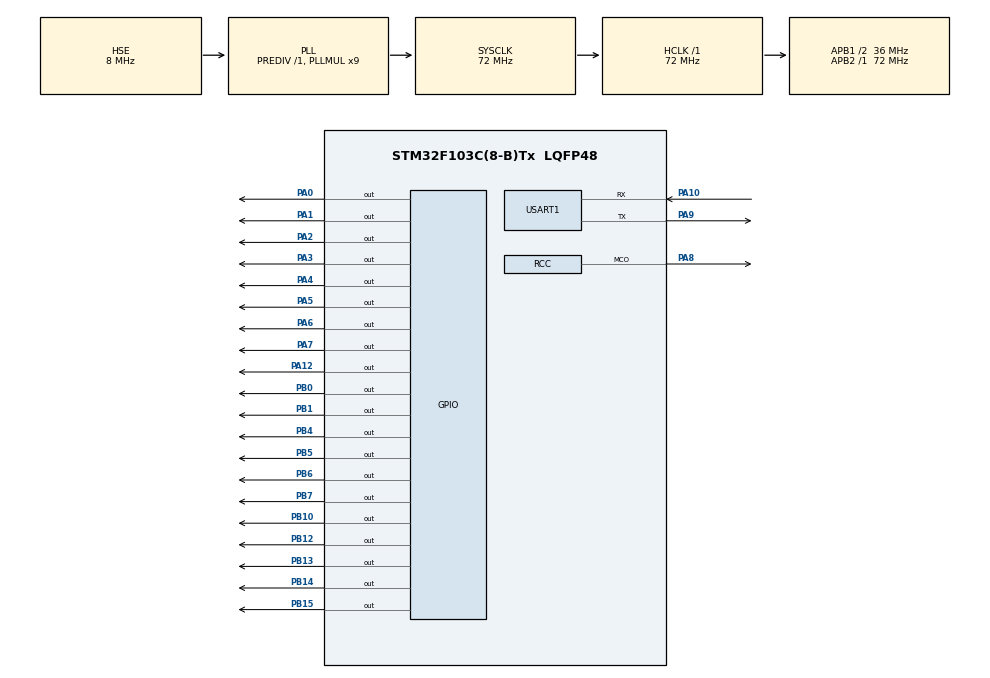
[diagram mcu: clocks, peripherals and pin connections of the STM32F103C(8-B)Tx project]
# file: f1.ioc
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Mcu.Family=STM32F1
Mcu.Name=STM32F103C(8-B)Tx
Mcu.Package=LQFP48
NVIC.PriorityGroup=NVIC_PRIORITYGROUP_4
NVIC.USART1_IRQn=true\:0\:0\:false\:false\:true\:true\:true\:true
PA0-WKUP.GPIO_Speed=GPIO_SPEED_FREQ_HIGH
PA0-WKUP.Signal=GPIO_Output
PA1.GPIO_Speed=GPIO_SPEED_FREQ_HIGH
PA1.Signal=GPIO_Output
PA10.Mode=Asynchronous
PA10.Signal=USART1_RX
PA12.GPIO_Speed=GPIO_SPEED_FREQ_HIGH
PA12.Signal=GPIO_Output
PA13.Mode=JTAG_4_pins
PA13.Signal=SYS_JTMS-SWDIO
PA14.Mode=JTAG_4_pins
PA14.Signal=SYS_JTCK-SWCLK
PA15.Mode=JTAG_4_pins
PA15.Signal=SYS_JTDI
PA2.GPIO_Speed=GPIO_SPEED_FREQ_HIGH
PA2.Signal=GPIO_Output
PA3.GPIO_Speed=GPIO_SPEED_FREQ_HIGH
PA3.Signal=GPIO_Output
PA4.GPIO_Speed=GPIO_SPEED_FREQ_HIGH
PA4.Signal=GPIO_Output
PA5.GPIO_Speed=GPIO_SPEED_FREQ_HIGH
PA5.Signal=GPIO_Output
PA6.GPIO_Speed=GPIO_SPEED_FREQ_HIGH
PA6.Signal=GPIO_Output
PA7.GPIO_Speed=GPIO_SPEED_FREQ_HIGH
PA7.Signal=GPIO_Output
PA8.Mode=Clock-out
PA8.Signal=RCC_MCO
PA9.Mode=Asynchronous
PA9.Signal=USART1_TX
PB0.GPIO_Speed=GPIO_SPEED_FREQ_HIGH
PB0.Signal=GPIO_Output
PB1.GPIO_Speed=GPIO_SPEED_FREQ_HIGH
PB1.Signal=GPIO_Output
PB10.GPIO_Speed=GPIO_SPEED_FREQ_HIGH
PB10.Signal=GPIO_Output
PB12.GPIO_Speed=GPIO_SPEED_FREQ_HIGH
PB12.Signal=GPIO_Output
PB13.GPIO_Speed=GPIO_SPEED_FREQ_HIGH
PB13.Signal=GPIO_Output
PB14.GPIO_Speed=GPIO_SPEED_FREQ_HIGH
PB14.Signal=GPIO_Output
PB15.GPIO_Speed=GPIO_SPEED_FREQ_HIGH
PB15.Signal=GPIO_Output
PB3.Mode=JTAG_4_pins
PB3.Signal=SYS_JTDO-TRACESWO
PB4.GPIO_Speed=GPIO_SPEED_FREQ_HIGH
PB4.Signal=GPIO_Output
PB5.GPIO_Speed=GPIO_SPEED_FREQ_HIGH
PB5.Signal=GPIO_Output
PB6.GPIO_Speed=GPIO_SPEED_FREQ_HIGH
PB6.Signal=GPIO_Output
PB7.GPIO_Speed=GPIO_SPEED_FREQ_HIGH
PB7.Signal=GPIO_Output
PC14-OSC32_IN.Mode=LSE-External-Oscillator
PC14-OSC32_IN.Signal=RCC_OSC32_IN
PC15-OSC32_OUT.Mode=LSE-External-Oscillator
PC15-OSC32_OUT.Signal=RCC_OSC32_OUT
PD0-OSC_IN.Mode=HSE-External-Oscillator
PD0-OSC_IN.Signal=RCC_OSC_IN
PD1-OSC_OUT.Mode=HSE-External-Oscillator
PD1-OSC_OUT.Signal=RCC_OSC_OUT
ProjectManager.HeapSize=0x200
ProjectManager.StackSize=0x400
ProjectManager.TargetToolchain=MDK-ARM V5.32
RCC.AHBFreq_Value=72000000
RCC.APB1CLKDivider=RCC_HCLK_DIV2
RCC.APB1Freq_Value=36000000
RCC.APB1TimFreq_Value=72000000
RCC.APB2Freq_Value=72000000
RCC.APB2TimFreq_Value=72000000
RCC.HCLKFreq_Value=72000000
RCC.PLLMUL=RCC_PLL_MUL9
RCC.PLLSourceVirtual=RCC_PLLSOURCE_HSE
RCC.RCC_MCOSource=RCC_MCO1SOURCE_PLLCLK
RCC.SYSCLKFreq_VALUE=72000000
RCC.SYSCLKSource=RCC_SYSCLKSOURCE_PLLCLK
RCC.USBFreq_Value=72000000
USART1.VirtualMode=VM_ASYNC
board=custom

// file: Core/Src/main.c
/* USER CODE BEGIN Header */
/**
  ******************************************************************************
  * @file           : main.c
  * @brief          : Main program body
  ******************************************************************************
  * @attention
  *
  * Copyright (c) 2023 STMicroelectronics.
  * All rights reserved.
  *
  * This software is licensed under terms that can be found in the LICENSE file
  * in the root directory of this software component.
  * If no LICENSE file comes with this software, it is provided AS-IS.
  *
  ******************************************************************************
  */
/* USER CODE END Header */
#include "main.h"
#include "usart.h"
#include "gpio.h"

/* USER CODE BEGIN Includes */
//#include "delay.h"
#include "myusart1.h"
#include "delay.h"
#include "AD9834.h"
#include "AD9959.H"
#include "ad9910.h"
#include "USART_Control.h"
/* USER CODE END Includes */

void SystemClock_Config(void);

int main(void)
{

  /* MCU Configuration--------------------------------------------------------*/

  /* Reset of all peripherals, Initializes the Flash interface and the Systick. */
  HAL_Init();

  /* Configure the system clock */
  SystemClock_Config();

  /* Initialize all configured peripherals */
  MX_GPIO_Init();
  MX_USART1_UART_Init();
  /* USER CODE BEGIN 2 */
  MyUSART1_Init(&huart1);
  delay_init(170);

  AD9834_Init();
  AD9834_Select_Wave(Sine_Wave);
  AD9834_Set_Freq(FREQ_0,100000);

  Init_AD9959();
  AD9959_SetFrequency4Channel(35000000,35000000,2000000,2000000);
  AD9959_SetPhase4Channel(0,0,0,0);
  AD9959_SetAmp4Channel(1023,1023,1023,1023);

  Init_ad9910();
  Freq_convert(100000);
  Amp_convert(649);

  /* USER CODE END 2 */

  /* Infinite loop */
  /* USER CODE BEGIN WHILE */
  while (1)
  {
	  USTART_Control();
    /* USER CODE END WHILE */

  }
}

void SystemClock_Config(void)
{
  RCC_OscInitTypeDef RCC_OscInitStruct = {0};
  RCC_ClkInitTypeDef RCC_ClkInitStruct = {0};

  /** Initializes the RCC Oscillators according to the specified parameters
  * in the RCC_OscInitTypeDef structure.
  */
  RCC_OscInitStruct.OscillatorType = RCC_OSCILLATORTYPE_HSE;
  RCC_OscInitStruct.HSEState = RCC_HSE_ON;
  RCC_OscInitStruct.HSEPredivValue = RCC_HSE_PREDIV_DIV1;
  RCC_OscInitStruct.HSIState = RCC_HSI_ON;
  RCC_OscInitStruct.PLL.PLLState = RCC_PLL_ON;
  RCC_OscInitStruct.PLL.PLLSource = RCC_PLLSOURCE_HSE;
  RCC_OscInitStruct.PLL.PLLMUL = RCC_PLL_MUL9;
  if (HAL_RCC_OscConfig(&RCC_OscInitStruct) != HAL_OK)
  {
    Error_Handler();
  }

  /** Initializes the CPU, AHB and APB buses clocks
  */
  RCC_ClkInitStruct.ClockType = RCC_CLOCKTYPE_HCLK|RCC_CLOCKTYPE_SYSCLK
                              |RCC_CLOCKTYPE_PCLK1|RCC_CLOCKTYPE_PCLK2;
  RCC_ClkInitStruct.SYSCLKSource = RCC_SYSCLKSOURCE_PLLCLK;
  RCC_ClkInitStruct.AHBCLKDivider = RCC_SYSCLK_DIV1;
  RCC_ClkInitStruct.APB1CLKDivider = RCC_HCLK_DIV2;
  RCC_ClkInitStruct.APB2CLKDivider = RCC_HCLK_DIV1;

  if (HAL_RCC_ClockConfig(&RCC_ClkInitStruct, FLASH_LATENCY_2) != HAL_OK)
  {
    Error_Handler();
  }
  HAL_RCC_MCOConfig(RCC_MCO, RCC_MCO1SOURCE_PLLCLK, RCC_MCODIV_1);
}

void Error_Handler(void)
{
  __disable_irq();
  while (1)
  {
  }
}
